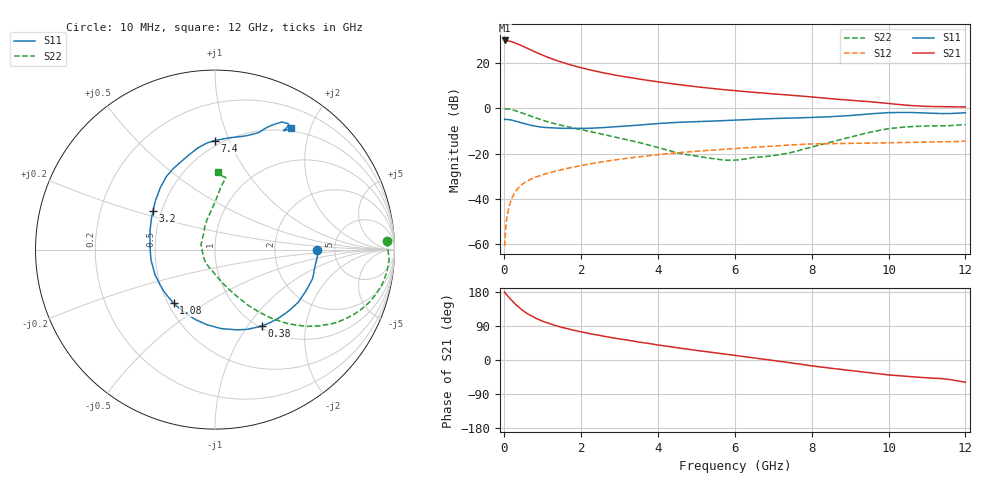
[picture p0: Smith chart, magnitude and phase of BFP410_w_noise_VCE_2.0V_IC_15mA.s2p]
! Infineon Technologies  Discrete & RF Semiconductors
! BFP410
! VCE =  2.0 V,  IC =  15 mA
! Common Emitter S-Parameters:  Nov 2015
# GHz  S  MA  R  50
!  f  S11  S21  S12  S22
! GHz  MAG  ANG  MAG  ANG  MAG  ANG  MAG  ANG
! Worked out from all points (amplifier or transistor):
!   243 points, 10 MHz to 12 GHz, reference 50 ohm
!   highest |S21| = 30.0 dB at 20 MHz (marker M1)
!   |S21| within 3 dB of that: start of sweep to 541.3 MHz
!   unconditionally stable (mu >= 1): 2.048 GHz to end of sweep
!   at 240 MHz: K = 0.22, MSG = 33.7 dB, |S12| = -38.3 dB
!   at 1.84 GHz: K = 0.95, MSG = 22.2 dB, |S12| = -25.8 dB
!   at 12 GHz: K = 1.03, MAG = 6.6 dB, |S12| = -14.5 dB
!   lowest NFmin = 1.50 dB at 900 MHz
!   S11 on the Smith chart (normalised r, x): 10 MHz: 3.63, -0.04; 380 MHz: 1.03, -1.17; 1.08 GHz: 0.54, -0.37; 3.2 GHz: 0.45, +0.23; 7.4 GHz: 0.46, +0.89; 12 GHz: 0.46, +1.71
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0.01  0.5677 -0.4  31.53 179.4  0.0009 115.3  0.9582 2.7
0.02  0.5727 -3.0  31.59 177.1  0.0012 88.1  0.9651 -0.6
0.1  0.5675 -16.5  30.98 168.0  0.0054 82.9  0.9655 -7.6
0.2  0.5483 -32.5  29.58 156.8  0.0104 77.6  0.9315 -15.4
0.3  0.5206 -47.4  27.63 146.4  0.0149 72.1  0.8812 -22.1
0.38  0.4976 -58.6  25.87 139.2  0.0179 68.6  0.8357 -26.7
0.5  0.4655 -74.0  23.26 129.4  0.022 64.5  0.7669 -32.7
0.6  0.4417 -85.4  21.19 122.3  0.0248 62.0  0.7128 -36.7
0.7  0.4212 -96.0  19.34 116.5  0.0274 60.1  0.6639 -40.1
0.9  0.3929 -113.9  16.22 106.4  0.032 57.4  0.581 -45.3
1.08  0.3766 -127.7  14 99.2  0.0357 56.0  0.5202 -48.9
1.4  0.3638 -147.6  11.1 88.7  0.0422 54.3  0.4379 -54.0
1.7  0.3598 -162.2  9.252 80.9  0.0483 52.9  0.3827 -57.6
2.02  0.3602 -175.2  7.803 73.9  0.0549 51.4  0.3364 -60.8
2.6  0.3764 164.4  6.035 62.5  0.0667 47.7  0.2621 -67.4
3.2  0.4063 148.3  4.887 52.6  0.0787 43.5  0.202 -75.2
4.1  0.466 129.7  3.744 38.3  0.0965 36.6  0.1288 -93.1
6.1  0.5532 104.0  2.412 10.9  0.131 19.9  0.0727 179.4
7.4  0.6068 90.1  1.968 -6.7  0.1545 8.1  0.1028 129.6
8.2  0.6375 79.5  1.723 -18.0  0.1641 -0.9  0.1547 109.3
10.2  0.8067 61.2  1.231 -41.0  0.1743 -17.1  0.3698 83.4
12  0.7976 57.9  1.072 -58.7  0.1873 -32.2  0.4351 87.9
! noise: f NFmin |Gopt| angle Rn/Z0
0.45  1.52  0.06  -134  0.19
0.9  1.5  0.07  -151  0.16
1.8  1.61  0.12  -142  0.16
2.4  1.64  0.18  -123  0.21
5.5  2.49  0.39  -106  0.35
10  3.6  0.69  -47  2.16
